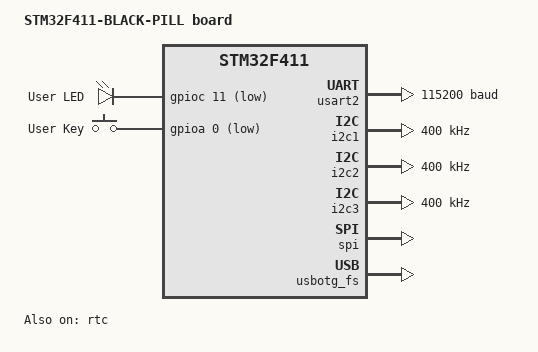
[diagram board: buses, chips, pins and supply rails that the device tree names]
/dts-v1/;
#include <st/f4/stm32f411Xe.dtsi>

/ {
	model = "STM32F411-BLACK-PILL board";
	compatible = "st,stm32f411-black-pill", "st,stm32f411";

	chosen {
		zephyr,console = &usart2;
		zephyr,shell-uart = &usart2;
		zephyr,sram = &sram0;
		zephyr,flash = &flash0;
	};

	leds {
		compatible = "gpio-leds";
		user_led: led_0 {
			gpios = <&gpioc 11 GPIO_ACTIVE_LOW>;
			label = "User LED";
		};
	};

	gpio_keys {
		compatible = "gpio-keys";
		user_button: button {
			label = "User Key";
			gpios = <&gpioa 0 GPIO_ACTIVE_LOW>;
		};
	};

	aliases {
		led0 = &user_led;
		sw0 = &user_button;
	};
};

&usart2 {
	current-speed = <115200>;
	status = "okay";
};

&i2c1 {
	clock-frequency = <I2C_BITRATE_FAST>;
};

&i2c2 {
	clock-frequency = <I2C_BITRATE_FAST>;
};

&i2c3 {
	clock-frequency = <I2C_BITRATE_FAST>;
};

&spi {
    status = "okay";
}

&rtc {
	status = "okay";
};

&usbotg_fs {
	status = "okay";
};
